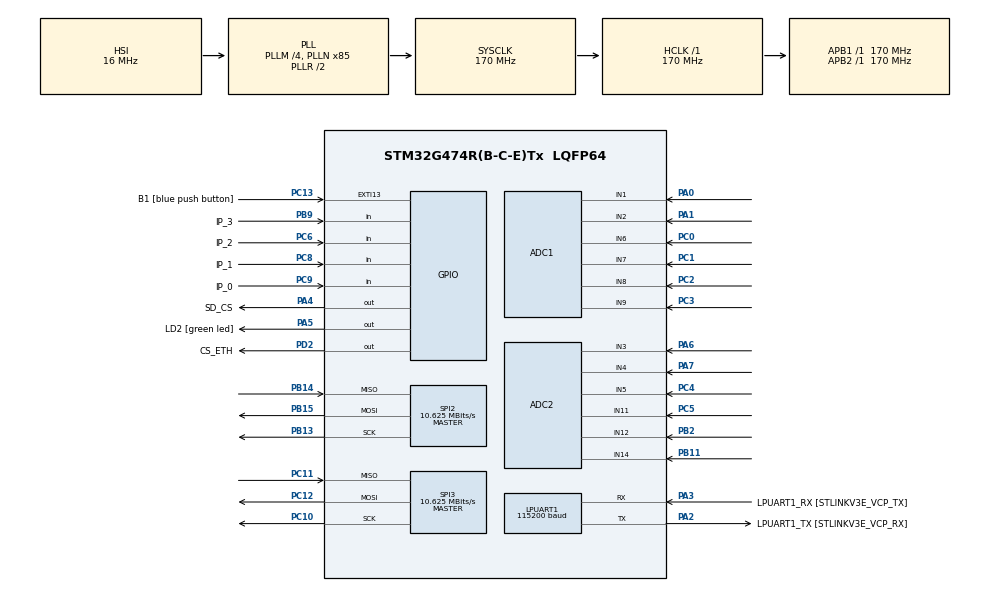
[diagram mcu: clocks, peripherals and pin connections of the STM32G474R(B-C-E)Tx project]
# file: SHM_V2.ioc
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ADC1.Channel-0\#ChannelRegularConversion=ADC_CHANNEL_1
ADC1.Channel-1\#ChannelRegularConversion=ADC_CHANNEL_2
ADC1.Channel-2\#ChannelRegularConversion=ADC_CHANNEL_6
ADC1.Channel-3\#ChannelRegularConversion=ADC_CHANNEL_7
ADC1.Channel-4\#ChannelRegularConversion=ADC_CHANNEL_8
ADC1.Channel-5\#ChannelRegularConversion=ADC_CHANNEL_9
ADC1.DMAAccessModeView=ENABLE
ADC1.Mode=ADC_DUALMODE_REGSIMULT
ADC1.NbrOfConversion=6
ADC1.NbrOfConversionFlag=1
ADC1.OffsetNumber-0\#ChannelRegularConversion=ADC_OFFSET_NONE
ADC1.OffsetNumber-1\#ChannelRegularConversion=ADC_OFFSET_NONE
ADC1.OffsetNumber-2\#ChannelRegularConversion=ADC_OFFSET_NONE
ADC1.OffsetNumber-3\#ChannelRegularConversion=ADC_OFFSET_NONE
ADC1.OffsetNumber-4\#ChannelRegularConversion=ADC_OFFSET_NONE
ADC1.OffsetNumber-5\#ChannelRegularConversion=ADC_OFFSET_NONE
ADC1.OversamplingMode=ENABLE
ADC1.Rank-0\#ChannelRegularConversion=1
ADC1.Rank-1\#ChannelRegularConversion=2
ADC1.Rank-2\#ChannelRegularConversion=3
ADC1.Rank-3\#ChannelRegularConversion=4
ADC1.Rank-4\#ChannelRegularConversion=5
ADC1.Rank-5\#ChannelRegularConversion=6
ADC1.Ratio=ADC_OVERSAMPLING_RATIO_256
ADC1.RightBitShift=ADC_RIGHTBITSHIFT_4
ADC1.SamplingTime-0\#ChannelRegularConversion=ADC_SAMPLETIME_2CYCLES_5
ADC1.SamplingTime-1\#ChannelRegularConversion=ADC_SAMPLETIME_2CYCLES_5
ADC1.SamplingTime-2\#ChannelRegularConversion=ADC_SAMPLETIME_2CYCLES_5
ADC1.SamplingTime-3\#ChannelRegularConversion=ADC_SAMPLETIME_2CYCLES_5
ADC1.SamplingTime-4\#ChannelRegularConversion=ADC_SAMPLETIME_2CYCLES_5
ADC1.SamplingTime-5\#ChannelRegularConversion=ADC_SAMPLETIME_2CYCLES_5
ADC1.master=1
ADC2.Channel-0\#ChannelRegularConversion=ADC_CHANNEL_3
ADC2.Channel-1\#ChannelRegularConversion=ADC_CHANNEL_4
ADC2.Channel-2\#ChannelRegularConversion=ADC_CHANNEL_5
ADC2.Channel-3\#ChannelRegularConversion=ADC_CHANNEL_11
ADC2.Channel-4\#ChannelRegularConversion=ADC_CHANNEL_12
ADC2.Channel-5\#ChannelRegularConversion=ADC_CHANNEL_14
ADC2.DMAAccessModeView=ENABLE
ADC2.Mode=ADC_DUALMODE_REGSIMULT
ADC2.NbrOfConversion=6
ADC2.NbrOfConversionFlag=1
ADC2.OffsetNumber-0\#ChannelRegularConversion=ADC_OFFSET_NONE
ADC2.OffsetNumber-1\#ChannelRegularConversion=ADC_OFFSET_NONE
ADC2.OffsetNumber-2\#ChannelRegularConversion=ADC_OFFSET_NONE
ADC2.OffsetNumber-3\#ChannelRegularConversion=ADC_OFFSET_NONE
ADC2.OffsetNumber-4\#ChannelRegularConversion=ADC_OFFSET_NONE
ADC2.OffsetNumber-5\#ChannelRegularConversion=ADC_OFFSET_NONE
ADC2.OversamplingMode=ENABLE
ADC2.Rank-0\#ChannelRegularConversion=1
ADC2.Rank-1\#ChannelRegularConversion=2
ADC2.Rank-2\#ChannelRegularConversion=3
ADC2.Rank-3\#ChannelRegularConversion=4
ADC2.Rank-4\#ChannelRegularConversion=5
ADC2.Rank-5\#ChannelRegularConversion=6
ADC2.Ratio=ADC_OVERSAMPLING_RATIO_256
ADC2.RightBitShift=ADC_RIGHTBITSHIFT_4
ADC2.SamplingTime-0\#ChannelRegularConversion=ADC_SAMPLETIME_2CYCLES_5
ADC2.SamplingTime-1\#ChannelRegularConversion=ADC_SAMPLETIME_2CYCLES_5
ADC2.SamplingTime-2\#ChannelRegularConversion=ADC_SAMPLETIME_2CYCLES_5
ADC2.SamplingTime-3\#ChannelRegularConversion=ADC_SAMPLETIME_2CYCLES_5
ADC2.SamplingTime-4\#ChannelRegularConversion=ADC_SAMPLETIME_2CYCLES_5
ADC2.SamplingTime-5\#ChannelRegularConversion=ADC_SAMPLETIME_2CYCLES_5
Dma.ADC1.0.Direction=DMA_PERIPH_TO_MEMORY
Dma.ADC1.0.EventEnable=DISABLE
Dma.ADC1.0.Instance=DMA1_Channel1
Dma.ADC1.0.MemDataAlignment=DMA_MDATAALIGN_WORD
Dma.ADC1.0.MemInc=DMA_MINC_ENABLE
Dma.ADC1.0.Mode=DMA_NORMAL
Dma.ADC1.0.PeriphDataAlignment=DMA_PDATAALIGN_WORD
Dma.ADC1.0.PeriphInc=DMA_PINC_DISABLE
Dma.ADC1.0.Polarity=HAL_DMAMUX_REQ_GEN_RISING
Dma.ADC1.0.Priority=DMA_PRIORITY_LOW
Dma.ADC1.0.RequestNumber=1
Dma.ADC1.0.SignalID=NONE
Dma.ADC1.0.SyncEnable=DISABLE
Dma.ADC1.0.SyncPolarity=HAL_DMAMUX_SYNC_NO_EVENT
Dma.ADC1.0.SyncRequestNumber=1
Dma.ADC1.0.SyncSignalID=NONE
Dma.Request0=ADC1
FATFS._MAX_SS=512
FATFS._USE_LFN=3
LPUART1.BaudRate=115200
LPUART1.WordLength=UART_WORDLENGTH_8B
Mcu.Family=STM32G4
Mcu.Name=STM32G474R(B-C-E)Tx
Mcu.Package=LQFP64
NVIC.DMA1_Channel1_IRQn=true\:6\:0\:true\:false\:true\:false\:true\:true
NVIC.EXTI15_10_IRQn=true\:10\:0\:true\:false\:true\:true\:true\:true
NVIC.PriorityGroup=NVIC_PRIORITYGROUP_4
NVIC.TIM2_IRQn=true\:0\:0\:false\:false\:true\:true\:true\:true
NVIC.TIM6_DAC_IRQn=true\:15\:0\:false\:false\:true\:false\:true\:true
NVIC.TimeBase=TIM6_DAC_IRQn
NVIC.TimeBaseIP=TIM6
PA0.Mode=IN1-Single-Ended
PA0.Signal=ADC1_IN1
PA1.Mode=IN2-Single-Ended
PA1.Signal=ADC1_IN2
PA13.GPIO_Label=T_SWDIO
PA13.Mode=Serial_Wire
PA13.Signal=SYS_JTMS-SWDIO
PA14.GPIO_Label=T_SWCLK
PA14.Mode=Serial_Wire
PA14.Signal=SYS_JTCK-SWCLK
PA2.GPIO_Label=LPUART1_TX [STLINKV3E_VCP_RX]
PA2.Mode=Asynchronous
PA2.Signal=LPUART1_TX
PA3.GPIO_Label=LPUART1_RX [STLINKV3E_VCP_TX]
PA3.Mode=Asynchronous
PA3.Signal=LPUART1_RX
PA4.GPIO_Label=SD_CS
PA4.GPIO_Speed=GPIO_SPEED_FREQ_LOW
PA4.PinState=GPIO_PIN_SET
PA4.Signal=GPIO_Output
PA5.GPIO_Label=LD2 [green led]
PA5.Signal=GPIO_Output
PA6.Mode=IN3-Single-Ended
PA6.Signal=ADC2_IN3
PA7.Mode=IN4-Single-Ended
PA7.Signal=ADC2_IN4
PB11.Mode=IN14-Single-Ended
PB11.Signal=ADC2_IN14
PB13.Mode=Full_Duplex_Master
PB13.Signal=SPI2_SCK
PB14.Mode=Full_Duplex_Master
PB14.Signal=SPI2_MISO
PB15.Mode=Full_Duplex_Master
PB15.Signal=SPI2_MOSI
PB2.Mode=IN12-Single-Ended
PB2.Signal=ADC2_IN12
PB3.GPIO_Label=T_SWO
PB3.Signal=SYS_JTDO-SWO
PB9.GPIO_Label=IP_3
PB9.GPIO_PuPd=GPIO_PULLDOWN
PB9.Signal=GPIO_Input
PC0.Mode=IN6-Single-Ended
PC0.Signal=ADC1_IN6
PC1.Mode=IN7-Single-Ended
PC1.Signal=ADC1_IN7
PC10.Mode=Full_Duplex_Master
PC10.Signal=SPI3_SCK
PC11.Mode=Full_Duplex_Master
PC11.Signal=SPI3_MISO
PC12.Mode=Full_Duplex_Master
PC12.Signal=SPI3_MOSI
PC13.GPIO_Label=B1 [blue push button]
PC13.Signal=GPXTI13
PC14-OSC32_IN.Mode=LSE-External-Oscillator
PC14-OSC32_IN.Signal=RCC_OSC32_IN
PC15-OSC32_OUT.Mode=LSE-External-Oscillator
PC15-OSC32_OUT.Signal=RCC_OSC32_OUT
PC2.Mode=IN8-Single-Ended
PC2.Signal=ADC1_IN8
PC3.Mode=IN9-Single-Ended
PC3.Signal=ADC1_IN9
PC4.Mode=IN5-Single-Ended
PC4.Signal=ADC2_IN5
PC5.Mode=IN11-Single-Ended
PC5.Signal=ADC2_IN11
PC6.GPIO_Label=IP_2
PC6.GPIO_PuPd=GPIO_PULLDOWN
PC6.Signal=GPIO_Input
PC8.GPIO_Label=IP_1
PC8.GPIO_PuPd=GPIO_PULLDOWN
PC8.Signal=GPIO_Input
PC9.GPIO_Label=IP_0
PC9.GPIO_PuPd=GPIO_PULLDOWN
PC9.Signal=GPIO_Input
PD2.GPIO_Label=CS_ETH
PD2.PinState=GPIO_PIN_SET
PD2.Signal=GPIO_Output
PF0-OSC_IN.Mode=HSE-External-Oscillator
PF0-OSC_IN.Signal=RCC_OSC_IN
PF1-OSC_OUT.Mode=HSE-External-Oscillator
PF1-OSC_OUT.Signal=RCC_OSC_OUT
ProjectManager.HeapSize=0x200
ProjectManager.StackSize=0x400
ProjectManager.TargetToolchain=STM32CubeIDE
RCC.ADC12Freq_Value=170000000
RCC.ADC345Freq_Value=170000000
RCC.AHBFreq_Value=170000000
RCC.APB1Freq_Value=170000000
RCC.APB1TimFreq_Value=170000000
RCC.APB2Freq_Value=170000000
RCC.APB2TimFreq_Value=170000000
RCC.CortexFreq_Value=170000000
RCC.EXTERNAL_CLOCK_VALUE=12288000
RCC.HCLKFreq_Value=170000000
RCC.HSE_VALUE=24000000
RCC.HSI48_VALUE=48000000
RCC.HSI_VALUE=16000000
RCC.PLLM=RCC_PLLM_DIV4
RCC.PLLN=85
RCC.RTCClockSelection=RCC_RTCCLKSOURCE_LSE
RCC.SYSCLKFreq_VALUE=170000000
RCC.SYSCLKSource=RCC_SYSCLKSOURCE_PLLCLK
RCC.USBFreq_Value=170000000
RCC.VCOOutputFreq_Value=340000000
RTC.Date=9
RTC.Format=RTC_FORMAT_BIN
RTC.Hours=22
RTC.Minutes=35
RTC.Month=RTC_MONTH_MAY
RTC.Year=22
SPI2.BaudRatePrescaler=SPI_BAUDRATEPRESCALER_16
SPI2.CalculateBaudRate=10.625 MBits/s
SPI2.DataSize=SPI_DATASIZE_8BIT
SPI2.Direction=SPI_DIRECTION_2LINES
SPI2.Mode=SPI_MODE_MASTER
SPI2.VirtualType=VM_MASTER
SPI3.BaudRatePrescaler=SPI_BAUDRATEPRESCALER_16
SPI3.CalculateBaudRate=10.625 MBits/s
SPI3.DataSize=SPI_DATASIZE_8BIT
SPI3.Direction=SPI_DIRECTION_2LINES
SPI3.Mode=SPI_MODE_MASTER
SPI3.VirtualType=VM_MASTER
TIM2.PeriodNoDither=28334-1
TIM2.Prescaler=30-1
VP_FATFS_VS_Generic.Mode=User_defined
VP_RTC_VS_RTC_Activate.Mode=RTC_Enabled
VP_RTC_VS_RTC_Calendar.Mode=RTC_Calendar
VP_SYS_VS_DBSignals.Mode=DisableDeadBatterySignals
VP_SYS_VS_tim6.Mode=TIM6
VP_TIM2_VS_ClockSourceINT.Mode=Internal
board=NUCLEO-G474RE

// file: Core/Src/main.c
/* USER CODE BEGIN Header */
/**
  ******************************************************************************
  * @file           : main.c
  * @brief          : Main program body
  ******************************************************************************
  * @attention
  *
  * Copyright (c) 2022 STMicroelectronics.
  * All rights reserved.
  *
  * This software is licensed under terms that can be found in the LICENSE file
  * in the root directory of this software component.
  * If no LICENSE file comes with this software, it is provided AS-IS.
  *
  * Se modifico el archivo w5500.h por problemas con las interrupciones del sistema utilizando FATFS
  * de: #define IR  a:  #define IR_5500
  *
  *
  ******************************************************************************
  */
/* USER CODE END Header */
#include "main.h"
#include "app_fatfs.h"

/* USER CODE BEGIN Includes */
#include "wizchip_conf.h"
#include "socket.h"
#include "ftpd.h"
#include "loopback.h"
/* USER CODE END Includes */

 ADC_HandleTypeDef hadc1;
ADC_HandleTypeDef hadc2;
DMA_HandleTypeDef hdma_adc1;

UART_HandleTypeDef hlpuart1;

RTC_HandleTypeDef hrtc;

SPI_HandleTypeDef hspi2;
SPI_HandleTypeDef hspi3;

TIM_HandleTypeDef htim2;

/* USER CODE BEGIN PV */

/*----------------------------PV Puerto Serie ----------------------------------------*/
//sprintf descarta el volatile cuando se pasa por argumento en la funcion
//Volatile hace referencia a que es una variable que se usara dentro de interrupciones
//Static se usa para variables locales dentro del archivo
static char tx_buff[90];
static volatile uint8_t buff_length;

/*----------------------SD PV------------------*/
//PV Variable para guardar en SD
static char buffer_sd[80];
static uint8_t buff_sd_length;

//PV FileSystem
FATFS fs;
FATFS *pfs;
FIL fil;

//PV Timer FatFS
//extern se usa para variables usadas en archivos externos
extern uint16_t Timer1, Timer2;

//PV Nombre de Archivo
char *extension = ".txt";
char Archivo[25];

/*-------------------FTP Server----------------*/
//PV FTP
uint8_t gFTPBUF[DATA_BUF_SIZE];
uint8_t bufSize[] = {2, 2, 2, 2, 2, 2, 2, 2};

/* USER CODE END PV */

void SystemClock_Config(void);
static void MX_GPIO_Init(void);
static void MX_DMA_Init(void);
static void MX_LPUART1_UART_Init(void);
static void MX_ADC1_Init(void);
static void MX_ADC2_Init(void);
static void MX_RTC_Init(void);
static void MX_SPI2_Init(void);
static void MX_SPI3_Init(void);
static void MX_TIM2_Init(void);
/* USER CODE BEGIN PFP */
/*Timer SD Handler */
void SDTimer_Handler(void);

//Ethernet Chip Select
void CS_SEL_FUN(void);
void CS_DES_FUN(void);

//Ethernet Rx Tx
uint8_t SPI_Received(void);
void SPI_Transmit(uint8_t);

/* USER CODE END PFP */

int main(void)
{

  /* MCU Configuration--------------------------------------------------------*/

  /* Reset of all peripherals, Initializes the Flash interface and the Systick. */
  HAL_Init();

  /* Configure the system clock */
  SystemClock_Config();

  /* Initialize all configured peripherals */
  MX_GPIO_Init();
  MX_DMA_Init();
  MX_LPUART1_UART_Init();
  MX_ADC1_Init();
  MX_ADC2_Init();
  MX_RTC_Init();
  MX_SPI2_Init();
  MX_SPI3_Init();
  MX_TIM2_Init();
  if (MX_FATFS_Init() != APP_OK) {
    Error_Handler();
  }
  /* USER CODE BEGIN 2 */

  //bufsize se refiere al tamaño del buffer tx, rx por cada socket el w5500 tiene hasta 8 sockets
  //Los 32Kbytes se dividen por los 8 sockets

  printf("\r\nYour name: ");
  uint8_t bufSize[] = {2, 2, 2, 2, 2, 2, 2, 2};

  //Funciones para mandar a seleccionar el chip:
  reg_wizchip_cs_cbfunc(CS_SEL_FUN, CS_DES_FUN);

  //Funcion para mandar a escribir y leer datos del SPI
  reg_wizchip_spi_cbfunc(SPI_Received, SPI_Transmit);

  wizchip_init(bufSize, bufSize);
  wiz_NetInfo netInfo = { .mac 	= {0x00, 0x08, 0xdc, 0xab, 0xcd, 0xef},	// Mac address
          	              .ip 	= {192, 168, 10, 5},					// IP address
          	              .sn 	= {255, 255, 255, 0},					// Subnet mask
          	              .gw 	= {192, 168, 10, 1}};					// Gateway address

  wizchip_setnetinfo(&netInfo);											//Se configura el chip con los datos ingresados anteriormente

  buff_length = sprintf(tx_buff, "FIN Config W5500 \r\n");
  HAL_UART_Transmit(&hlpuart1,  (uint8_t *)tx_buff, buff_length, 100);

  buff_length = sprintf(tx_buff, "Inicio Prueba: \r\n");
  	HAL_UART_Transmit(&hlpuart1,  (uint8_t *)tx_buff, buff_length, 100);
  	/* Mount SD Card */
  	if(f_mount(&fs, "", 0) != FR_OK)
  	{
  		Error_Handler();
  	}

  	/* Open file to write */
  	FRESULT sdflag;
  	sdflag = f_open(&fil, "SHMv2.txt", FA_OPEN_APPEND | FA_READ | FA_WRITE);
  	if(sdflag != FR_OK)
  	{
  		Error_Handler();
  	}

  	f_puts("Save the world ST!!!\n", &fil);
  	if(f_sync(&fil) != FR_OK)
  	{
  		Error_Handler();
  	}

  	/* Close file */
  	if(f_close(&fil) != FR_OK)
  	{
  		Error_Handler();
  	}

  	buff_length = sprintf(tx_buff, "FIN Prueba SD: \r\n");
  	HAL_UART_Transmit(&hlpuart1,  (uint8_t *)tx_buff, buff_length, 100);

  	ftpd_init("user10", "pass10");

  /* USER CODE END 2 */

  /* Infinite loop */
  /* USER CODE BEGIN WHILE */
  while (1)
  {
	 ftpd_run(gFTPBUF);
	 HAL_GPIO_TogglePin(LD2_GPIO_Port, LD2_Pin);
	 HAL_Delay(100);
    /* USER CODE END WHILE */

  }
}

void SystemClock_Config(void)
{
  RCC_OscInitTypeDef RCC_OscInitStruct = {0};
  RCC_ClkInitTypeDef RCC_ClkInitStruct = {0};

  /** Configure the main internal regulator output voltage
  */
  HAL_PWREx_ControlVoltageScaling(PWR_REGULATOR_VOLTAGE_SCALE1_BOOST);

  /** Configure LSE Drive Capability
  */
  HAL_PWR_EnableBkUpAccess();
  __HAL_RCC_LSEDRIVE_CONFIG(RCC_LSEDRIVE_LOW);

  /** Initializes the RCC Oscillators according to the specified parameters
  * in the RCC_OscInitTypeDef structure.
  */
  RCC_OscInitStruct.OscillatorType = RCC_OSCILLATORTYPE_HSI|RCC_OSCILLATORTYPE_LSE;
  RCC_OscInitStruct.LSEState = RCC_LSE_ON;
  RCC_OscInitStruct.HSIState = RCC_HSI_ON;
  RCC_OscInitStruct.HSICalibrationValue = RCC_HSICALIBRATION_DEFAULT;
  RCC_OscInitStruct.PLL.PLLState = RCC_PLL_ON;
  RCC_OscInitStruct.PLL.PLLSource = RCC_PLLSOURCE_HSI;
  RCC_OscInitStruct.PLL.PLLM = RCC_PLLM_DIV4;
  RCC_OscInitStruct.PLL.PLLN = 85;
  RCC_OscInitStruct.PLL.PLLP = RCC_PLLP_DIV2;
  RCC_OscInitStruct.PLL.PLLQ = RCC_PLLQ_DIV2;
  RCC_OscInitStruct.PLL.PLLR = RCC_PLLR_DIV2;
  if (HAL_RCC_OscConfig(&RCC_OscInitStruct) != HAL_OK)
  {
    Error_Handler();
  }

  /** Initializes the CPU, AHB and APB buses clocks
  */
  RCC_ClkInitStruct.ClockType = RCC_CLOCKTYPE_HCLK|RCC_CLOCKTYPE_SYSCLK
                              |RCC_CLOCKTYPE_PCLK1|RCC_CLOCKTYPE_PCLK2;
  RCC_ClkInitStruct.SYSCLKSource = RCC_SYSCLKSOURCE_PLLCLK;
  RCC_ClkInitStruct.AHBCLKDivider = RCC_SYSCLK_DIV1;
  RCC_ClkInitStruct.APB1CLKDivider = RCC_HCLK_DIV1;
  RCC_ClkInitStruct.APB2CLKDivider = RCC_HCLK_DIV1;

  if (HAL_RCC_ClockConfig(&RCC_ClkInitStruct, FLASH_LATENCY_4) != HAL_OK)
  {
    Error_Handler();
  }
}

static void MX_ADC1_Init(void)
{

  ADC_MultiModeTypeDef multimode = {0};
  ADC_ChannelConfTypeDef sConfig = {0};

  /** Common config
  */
  hadc1.Instance = ADC1;
  hadc1.Init.ClockPrescaler = ADC_CLOCK_SYNC_PCLK_DIV4;
  hadc1.Init.Resolution = ADC_RESOLUTION_12B;
  hadc1.Init.DataAlign = ADC_DATAALIGN_RIGHT;
  hadc1.Init.GainCompensation = 0;
  hadc1.Init.ScanConvMode = ADC_SCAN_ENABLE;
  hadc1.Init.EOCSelection = ADC_EOC_SINGLE_CONV;
  hadc1.Init.LowPowerAutoWait = DISABLE;
  hadc1.Init.ContinuousConvMode = DISABLE;
  hadc1.Init.NbrOfConversion = 6;
  hadc1.Init.DiscontinuousConvMode = DISABLE;
  hadc1.Init.ExternalTrigConv = ADC_SOFTWARE_START;
  hadc1.Init.ExternalTrigConvEdge = ADC_EXTERNALTRIGCONVEDGE_NONE;
  hadc1.Init.DMAContinuousRequests = DISABLE;
  hadc1.Init.Overrun = ADC_OVR_DATA_PRESERVED;
  hadc1.Init.OversamplingMode = ENABLE;
  hadc1.Init.Oversampling.Ratio = ADC_OVERSAMPLING_RATIO_256;
  hadc1.Init.Oversampling.RightBitShift = ADC_RIGHTBITSHIFT_4;
  hadc1.Init.Oversampling.TriggeredMode = ADC_TRIGGEREDMODE_SINGLE_TRIGGER;
  hadc1.Init.Oversampling.OversamplingStopReset = ADC_REGOVERSAMPLING_CONTINUED_MODE;
  if (HAL_ADC_Init(&hadc1) != HAL_OK)
  {
    Error_Handler();
  }

  /** Configure the ADC multi-mode
  */
  multimode.Mode = ADC_DUALMODE_REGSIMULT;
  multimode.DMAAccessMode = ADC_DMAACCESSMODE_12_10_BITS;
  multimode.TwoSamplingDelay = ADC_TWOSAMPLINGDELAY_1CYCLE;
  if (HAL_ADCEx_MultiModeConfigChannel(&hadc1, &multimode) != HAL_OK)
  {
    Error_Handler();
  }

  /** Configure Regular Channel
  */
  sConfig.Channel = ADC_CHANNEL_1;
  sConfig.Rank = ADC_REGULAR_RANK_1;
  sConfig.SamplingTime = ADC_SAMPLETIME_2CYCLES_5;
  sConfig.SingleDiff = ADC_SINGLE_ENDED;
  sConfig.OffsetNumber = ADC_OFFSET_NONE;
  sConfig.Offset = 0;
  if (HAL_ADC_ConfigChannel(&hadc1, &sConfig) != HAL_OK)
  {
    Error_Handler();
  }

  /** Configure Regular Channel
  */
  sConfig.Channel = ADC_CHANNEL_2;
  sConfig.Rank = ADC_REGULAR_RANK_2;
  if (HAL_ADC_ConfigChannel(&hadc1, &sConfig) != HAL_OK)
  {
    Error_Handler();
  }

  /** Configure Regular Channel
  */
  sConfig.Channel = ADC_CHANNEL_6;
  sConfig.Rank = ADC_REGULAR_RANK_3;
  if (HAL_ADC_ConfigChannel(&hadc1, &sConfig) != HAL_OK)
  {
    Error_Handler();
  }

  /** Configure Regular Channel
  */
  sConfig.Channel = ADC_CHANNEL_7;
  sConfig.Rank = ADC_REGULAR_RANK_4;
  if (HAL_ADC_ConfigChannel(&hadc1, &sConfig) != HAL_OK)
  {
    Error_Handler();
  }

  /** Configure Regular Channel
  */
  sConfig.Channel = ADC_CHANNEL_8;
  sConfig.Rank = ADC_REGULAR_RANK_5;
  if (HAL_ADC_ConfigChannel(&hadc1, &sConfig) != HAL_OK)
  {
    Error_Handler();
  }

  /** Configure Regular Channel
  */
  sConfig.Channel = ADC_CHANNEL_9;
  sConfig.Rank = ADC_REGULAR_RANK_6;
  if (HAL_ADC_ConfigChannel(&hadc1, &sConfig) != HAL_OK)
  {
    Error_Handler();
  }

}

static void MX_ADC2_Init(void)
{

  ADC_ChannelConfTypeDef sConfig = {0};

  /** Common config
  */
  hadc2.Instance = ADC2;
  hadc2.Init.ClockPrescaler = ADC_CLOCK_SYNC_PCLK_DIV4;
  hadc2.Init.Resolution = ADC_RESOLUTION_12B;
  hadc2.Init.DataAlign = ADC_DATAALIGN_RIGHT;
  hadc2.Init.GainCompensation = 0;
  hadc2.Init.ScanConvMode = ADC_SCAN_ENABLE;
  hadc2.Init.EOCSelection = ADC_EOC_SINGLE_CONV;
  hadc2.Init.LowPowerAutoWait = DISABLE;
  hadc2.Init.ContinuousConvMode = DISABLE;
  hadc2.Init.NbrOfConversion = 6;
  hadc2.Init.DiscontinuousConvMode = DISABLE;
  hadc2.Init.DMAContinuousRequests = DISABLE;
  hadc2.Init.Overrun = ADC_OVR_DATA_PRESERVED;
  hadc2.Init.OversamplingMode = ENABLE;
  hadc2.Init.Oversampling.Ratio = ADC_OVERSAMPLING_RATIO_256;
  hadc2.Init.Oversampling.RightBitShift = ADC_RIGHTBITSHIFT_4;
  hadc2.Init.Oversampling.TriggeredMode = ADC_TRIGGEREDMODE_SINGLE_TRIGGER;
  hadc2.Init.Oversampling.OversamplingStopReset = ADC_REGOVERSAMPLING_CONTINUED_MODE;
  if (HAL_ADC_Init(&hadc2) != HAL_OK)
  {
    Error_Handler();
  }

  /** Configure Regular Channel
  */
  sConfig.Channel = ADC_CHANNEL_3;
  sConfig.Rank = ADC_REGULAR_RANK_1;
  sConfig.SamplingTime = ADC_SAMPLETIME_2CYCLES_5;
  sConfig.SingleDiff = ADC_SINGLE_ENDED;
  sConfig.OffsetNumber = ADC_OFFSET_NONE;
  sConfig.Offset = 0;
  if (HAL_ADC_ConfigChannel(&hadc2, &sConfig) != HAL_OK)
  {
    Error_Handler();
  }

  /** Configure Regular Channel
  */
  sConfig.Channel = ADC_CHANNEL_4;
  sConfig.Rank = ADC_REGULAR_RANK_2;
  if (HAL_ADC_ConfigChannel(&hadc2, &sConfig) != HAL_OK)
  {
    Error_Handler();
  }

  /** Configure Regular Channel
  */
  sConfig.Channel = ADC_CHANNEL_5;
  sConfig.Rank = ADC_REGULAR_RANK_3;
  if (HAL_ADC_ConfigChannel(&hadc2, &sConfig) != HAL_OK)
  {
    Error_Handler();
  }

  /** Configure Regular Channel
  */
  sConfig.Channel = ADC_CHANNEL_11;
  sConfig.Rank = ADC_REGULAR_RANK_4;
  if (HAL_ADC_ConfigChannel(&hadc2, &sConfig) != HAL_OK)
  {
    Error_Handler();
  }

  /** Configure Regular Channel
  */
  sConfig.Channel = ADC_CHANNEL_12;
  sConfig.Rank = ADC_REGULAR_RANK_5;
  if (HAL_ADC_ConfigChannel(&hadc2, &sConfig) != HAL_OK)
  {
    Error_Handler();
  }

  /** Configure Regular Channel
  */
  sConfig.Channel = ADC_CHANNEL_14;
  sConfig.Rank = ADC_REGULAR_RANK_6;
  if (HAL_ADC_ConfigChannel(&hadc2, &sConfig) != HAL_OK)
  {
    Error_Handler();
  }

}

static void MX_LPUART1_UART_Init(void)
{

  hlpuart1.Instance = LPUART1;
  hlpuart1.Init.BaudRate = 115200;
  hlpuart1.Init.WordLength = UART_WORDLENGTH_8B;
  hlpuart1.Init.StopBits = UART_STOPBITS_1;
  hlpuart1.Init.Parity = UART_PARITY_NONE;
  hlpuart1.Init.Mode = UART_MODE_TX_RX;
  hlpuart1.Init.HwFlowCtl = UART_HWCONTROL_NONE;
  hlpuart1.Init.OneBitSampling = UART_ONE_BIT_SAMPLE_DISABLE;
  hlpuart1.Init.ClockPrescaler = UART_PRESCALER_DIV1;
  hlpuart1.AdvancedInit.AdvFeatureInit = UART_ADVFEATURE_NO_INIT;
  if (HAL_UART_Init(&hlpuart1) != HAL_OK)
  {
    Error_Handler();
  }
  if (HAL_UARTEx_SetTxFifoThreshold(&hlpuart1, UART_TXFIFO_THRESHOLD_1_8) != HAL_OK)
  {
    Error_Handler();
  }
  if (HAL_UARTEx_SetRxFifoThreshold(&hlpuart1, UART_RXFIFO_THRESHOLD_1_8) != HAL_OK)
  {
    Error_Handler();
  }
  if (HAL_UARTEx_DisableFifoMode(&hlpuart1) != HAL_OK)
  {
    Error_Handler();
  }

}

static void MX_RTC_Init(void)
{

  RTC_TimeTypeDef sTime = {0};
  RTC_DateTypeDef sDate = {0};

  /** Initialize RTC Only
  */
  hrtc.Instance = RTC;
  hrtc.Init.HourFormat = RTC_HOURFORMAT_24;
  hrtc.Init.AsynchPrediv = 127;
  hrtc.Init.SynchPrediv = 255;
  hrtc.Init.OutPut = RTC_OUTPUT_DISABLE;
  hrtc.Init.OutPutRemap = RTC_OUTPUT_REMAP_NONE;
  hrtc.Init.OutPutPolarity = RTC_OUTPUT_POLARITY_HIGH;
  hrtc.Init.OutPutType = RTC_OUTPUT_TYPE_OPENDRAIN;
  hrtc.Init.OutPutPullUp = RTC_OUTPUT_PULLUP_NONE;
  if (HAL_RTC_Init(&hrtc) != HAL_OK)
  {
    Error_Handler();
  }

  /** Initialize RTC and set the Time and Date
  */
  sTime.Hours = 22;
  sTime.Minutes = 35;
  sTime.Seconds = 0;
  sTime.SubSeconds = 0;
  sTime.DayLightSaving = RTC_DAYLIGHTSAVING_NONE;
  sTime.StoreOperation = RTC_STOREOPERATION_RESET;
  if (HAL_RTC_SetTime(&hrtc, &sTime, RTC_FORMAT_BIN) != HAL_OK)
  {
    Error_Handler();
  }
  sDate.WeekDay = RTC_WEEKDAY_MONDAY;
  sDate.Month = RTC_MONTH_MAY;
  sDate.Date = 9;
  sDate.Year = 22;

  if (HAL_RTC_SetDate(&hrtc, &sDate, RTC_FORMAT_BIN) != HAL_OK)
  {
    Error_Handler();
  }

}

static void MX_SPI2_Init(void)
{

  /* SPI2 parameter configuration*/
  hspi2.Instance = SPI2;
  hspi2.Init.Mode = SPI_MODE_MASTER;
  hspi2.Init.Direction = SPI_DIRECTION_2LINES;
  hspi2.Init.DataSize = SPI_DATASIZE_8BIT;
  hspi2.Init.CLKPolarity = SPI_POLARITY_LOW;
  hspi2.Init.CLKPhase = SPI_PHASE_1EDGE;
  hspi2.Init.NSS = SPI_NSS_SOFT;
  hspi2.Init.BaudRatePrescaler = SPI_BAUDRATEPRESCALER_16;
  hspi2.Init.FirstBit = SPI_FIRSTBIT_MSB;
  hspi2.Init.TIMode = SPI_TIMODE_DISABLE;
  hspi2.Init.CRCCalculation = SPI_CRCCALCULATION_DISABLE;
  hspi2.Init.CRCPolynomial = 7;
  hspi2.Init.CRCLength = SPI_CRC_LENGTH_DATASIZE;
  hspi2.Init.NSSPMode = SPI_NSS_PULSE_ENABLE;
  if (HAL_SPI_Init(&hspi2) != HAL_OK)
  {
    Error_Handler();
  }

}

static void MX_SPI3_Init(void)
{

  /* SPI3 parameter configuration*/
  hspi3.Instance = SPI3;
  hspi3.Init.Mode = SPI_MODE_MASTER;
  hspi3.Init.Direction = SPI_DIRECTION_2LINES;
  hspi3.Init.DataSize = SPI_DATASIZE_8BIT;
  hspi3.Init.CLKPolarity = SPI_POLARITY_LOW;
  hspi3.Init.CLKPhase = SPI_PHASE_1EDGE;
  hspi3.Init.NSS = SPI_NSS_SOFT;
  hspi3.Init.BaudRatePrescaler = SPI_BAUDRATEPRESCALER_16;
  hspi3.Init.FirstBit = SPI_FIRSTBIT_MSB;
  hspi3.Init.TIMode = SPI_TIMODE_DISABLE;
  hspi3.Init.CRCCalculation = SPI_CRCCALCULATION_DISABLE;
  hspi3.Init.CRCPolynomial = 7;
  hspi3.Init.CRCLength = SPI_CRC_LENGTH_DATASIZE;
  hspi3.Init.NSSPMode = SPI_NSS_PULSE_ENABLE;
  if (HAL_SPI_Init(&hspi3) != HAL_OK)
  {
    Error_Handler();
  }

}

static void MX_TIM2_Init(void)
{

  TIM_ClockConfigTypeDef sClockSourceConfig = {0};
  TIM_MasterConfigTypeDef sMasterConfig = {0};

  htim2.Instance = TIM2;
  htim2.Init.Prescaler = 30-1;
  htim2.Init.CounterMode = TIM_COUNTERMODE_UP;
  htim2.Init.Period = 28333;
  htim2.Init.ClockDivision = TIM_CLOCKDIVISION_DIV1;
  htim2.Init.AutoReloadPreload = TIM_AUTORELOAD_PRELOAD_DISABLE;
  if (HAL_TIM_Base_Init(&htim2) != HAL_OK)
  {
    Error_Handler();
  }
  sClockSourceConfig.ClockSource = TIM_CLOCKSOURCE_INTERNAL;
  if (HAL_TIM_ConfigClockSource(&htim2, &sClockSourceConfig) != HAL_OK)
  {
    Error_Handler();
  }
  sMasterConfig.MasterOutputTrigger = TIM_TRGO_RESET;
  sMasterConfig.MasterSlaveMode = TIM_MASTERSLAVEMODE_DISABLE;
  if (HAL_TIMEx_MasterConfigSynchronization(&htim2, &sMasterConfig) != HAL_OK)
  {
    Error_Handler();
  }

}

static void MX_DMA_Init(void)
{

  /* DMA controller clock enable */
  __HAL_RCC_DMAMUX1_CLK_ENABLE();
  __HAL_RCC_DMA1_CLK_ENABLE();

  /* DMA interrupt init */
  /* DMA1_Channel1_IRQn interrupt configuration */
  HAL_NVIC_SetPriority(DMA1_Channel1_IRQn, 6, 0);
  HAL_NVIC_EnableIRQ(DMA1_Channel1_IRQn);

}

static void MX_GPIO_Init(void)
{
  GPIO_InitTypeDef GPIO_InitStruct = {0};

  /* GPIO Ports Clock Enable */
  __HAL_RCC_GPIOC_CLK_ENABLE();
  __HAL_RCC_GPIOF_CLK_ENABLE();
  __HAL_RCC_GPIOA_CLK_ENABLE();
  __HAL_RCC_GPIOB_CLK_ENABLE();
  __HAL_RCC_GPIOD_CLK_ENABLE();

  /*Configure GPIO pin Output Level */
  HAL_GPIO_WritePin(SD_CS_GPIO_Port, SD_CS_Pin, GPIO_PIN_SET);

  /*Configure GPIO pin Output Level */
  HAL_GPIO_WritePin(LD2_GPIO_Port, LD2_Pin, GPIO_PIN_RESET);

  /*Configure GPIO pin Output Level */
  HAL_GPIO_WritePin(CS_ETH_GPIO_Port, CS_ETH_Pin, GPIO_PIN_SET);

  /*Configure GPIO pin : B1_Pin */
  GPIO_InitStruct.Pin = B1_Pin;
  GPIO_InitStruct.Mode = GPIO_MODE_IT_RISING;
  GPIO_InitStruct.Pull = GPIO_NOPULL;
  HAL_GPIO_Init(B1_GPIO_Port, &GPIO_InitStruct);

  /*Configure GPIO pins : SD_CS_Pin LD2_Pin */
  GPIO_InitStruct.Pin = SD_CS_Pin|LD2_Pin;
  GPIO_InitStruct.Mode = GPIO_MODE_OUTPUT_PP;
  GPIO_InitStruct.Pull = GPIO_NOPULL;
  GPIO_InitStruct.Speed = GPIO_SPEED_FREQ_LOW;
  HAL_GPIO_Init(GPIOA, &GPIO_InitStruct);

  /*Configure GPIO pins : IP_2_Pin IP_1_Pin IP_0_Pin */
  GPIO_InitStruct.Pin = IP_2_Pin|IP_1_Pin|IP_0_Pin;
  GPIO_InitStruct.Mode = GPIO_MODE_INPUT;
  GPIO_InitStruct.Pull = GPIO_PULLDOWN;
  HAL_GPIO_Init(GPIOC, &GPIO_InitStruct);

  /*Configure GPIO pin : CS_ETH_Pin */
  GPIO_InitStruct.Pin = CS_ETH_Pin;
  GPIO_InitStruct.Mode = GPIO_MODE_OUTPUT_PP;
  GPIO_InitStruct.Pull = GPIO_NOPULL;
  GPIO_InitStruct.Speed = GPIO_SPEED_FREQ_LOW;
  HAL_GPIO_Init(CS_ETH_GPIO_Port, &GPIO_InitStruct);

  /*Configure GPIO pin : IP_3_Pin */
  GPIO_InitStruct.Pin = IP_3_Pin;
  GPIO_InitStruct.Mode = GPIO_MODE_INPUT;
  GPIO_InitStruct.Pull = GPIO_PULLDOWN;
  HAL_GPIO_Init(IP_3_GPIO_Port, &GPIO_InitStruct);

  /* EXTI interrupt init*/
  HAL_NVIC_SetPriority(EXTI15_10_IRQn, 10, 0);
  HAL_NVIC_EnableIRQ(EXTI15_10_IRQn);

}

/* USER CODE BEGIN 4 */

void SDTimer_Handler(void)
{
  if(Timer1 > 0)
    Timer1--;

  if(Timer2 > 0)
    Timer2--;
}

void CS_SEL_FUN(void)
{
// CS y GPIO de SPI3
	HAL_GPIO_WritePin(CS_ETH_GPIO_Port, CS_ETH_Pin, GPIO_PIN_RESET);
}

void CS_DES_FUN(void)
{
	HAL_GPIO_WritePin(CS_ETH_GPIO_Port, CS_ETH_Pin, GPIO_PIN_SET);
}
// Tener cuidado con el SPI que se esta usando
uint8_t SPI_Received(void)
{
	uint8_t RX_Buff;
	HAL_SPI_Receive(&hspi3, &RX_Buff, 1, 100);
	return RX_Buff;
}

void SPI_Transmit(uint8_t TX_Buff)
{
	HAL_SPI_Transmit(&hspi3, &TX_Buff, 1, 100);
}

/* USER CODE END 4 */

void HAL_TIM_PeriodElapsedCallback(TIM_HandleTypeDef *htim)
{
  /* USER CODE BEGIN Callback 0 */
	if (htim->Instance == TIM6) {
	    SDTimer_Handler();
	}
  /* USER CODE END Callback 0 */
  if (htim->Instance == TIM6) {
    HAL_IncTick();
  }
}

void Error_Handler(void)
{
  /* USER CODE BEGIN Error_Handler_Debug */
  /* User can add his own implementation to report the HAL error return state */
	buff_length = sprintf(tx_buff, "Error_Handler\r\n");
	HAL_UART_Transmit(&hlpuart1, (uint8_t *)tx_buff, buff_length, 100);
  __disable_irq();
  while (1)
  {
  }
  /* USER CODE END Error_Handler_Debug */
}
